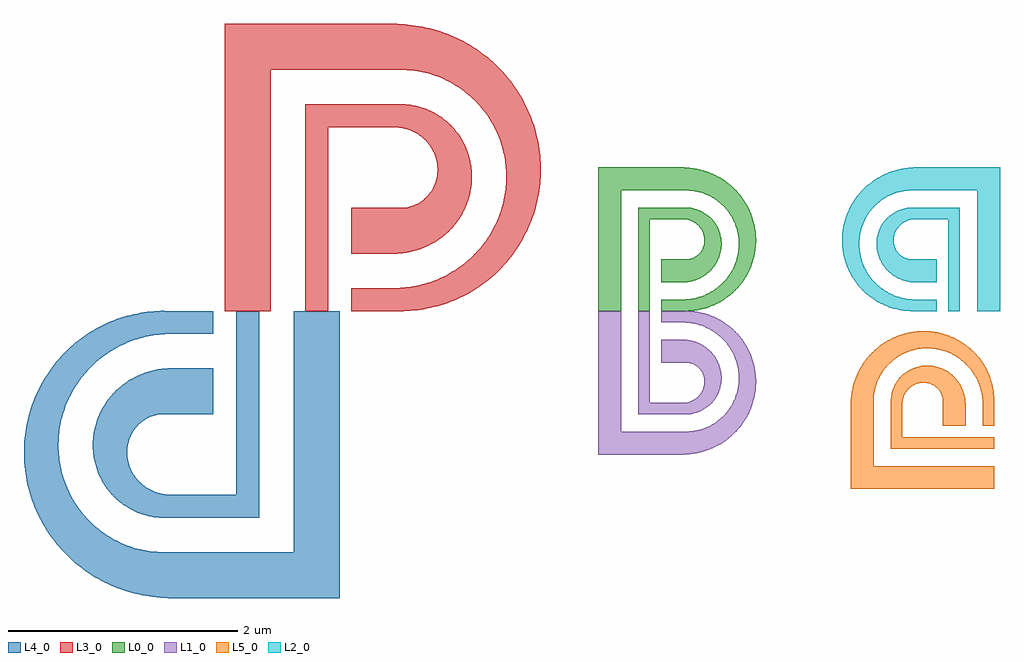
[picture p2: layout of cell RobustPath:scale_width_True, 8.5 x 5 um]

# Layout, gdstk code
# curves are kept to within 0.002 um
import gdstk
lib = gdstk.Library(unit=1e-6, precision=1e-12)
def R(c, l, rs):  # rectangles x0, y0, x1, y1
    for r in rs: c.add(gdstk.rectangle(r[:2], r[2:], *l))
def P(c, l, *ps):  # polygons
    for p in ps: c.add(gdstk.Polygon(p, *l))
L0_0 = (0, 0)
L1_0 = (1, 0)
L2_0 = (2, 0)
L3_0 = (3, 0)
L4_0 = (4, 0)
L5_0 = (5, 0)

robustpath_scale_width_t = lib.new_cell('RobustPath:scale_width_True')
P(robustpath_scale_width_t, L0_0, [(0.2,0.25),(0.2,0.8),(0.5,0.8),(0.529,0.7955),(0.5655,0.7832),(0.5984,0.7642),(0.6264,0.7395),(0.6533,0.7024),(0.6646,0.6778),(0.6735,0.6435),(0.6757,0.6173),(0.6726,0.583),(0.666,0.5584),(0.6518,0.5282),(0.6324,0.5018),(0.6086,0.4802),(0.5744,0.4608),(0.5299,0.4498),(0.3,0.45),(0.3,0.25),(0.5,0.25),(0.5426,0.2546),(0.5922,0.2668),(0.6391,0.2861),(0.6824,0.3119),(0.7212,0.3436),(0.7547,0.3803),(0.7822,0.4213),(0.8032,0.4656),(0.819,0.5201),(0.825,0.568),(0.8238,0.6159),(0.8157,0.6628),(0.8009,0.7076),(0.7797,0.7495),(0.7529,0.7876),(0.721,0.821),(0.6848,0.8491),(0.6451,0.8715),(0.6029,0.8876),(0.5591,0.8973),(0.5148,0.9004),(0.1,0.9),(0.1,0),(0.2,0)],
  [(-0.05,1.05),(0.5221,1.0502),(0.5884,1.0444),(0.6641,1.0253),(0.7258,0.9987),(0.7924,0.9563),(0.8433,0.9111),(0.8433,1.1413),(0.7607,1.1882),(0.6722,1.2223),(0.5793,1.2432),(0.5,1.25),(-0.25,1.25),(-0.25,0),(-0.05,0)],
  [(0.5295,-0.0001),(0.6177,0.0085),(0.6898,0.0255),(0.7731,0.0574),(0.8433,0.0964),(0.8433,0.2538),(0.7918,0.2066),(0.7424,0.1721),(0.6778,0.139),(0.6205,0.1188),(0.561,0.1057),(0.5123,0.1005),(0.3,0.1),(0.3,0)],
  [(0.8511,0.1015),(0.9108,0.1467),(0.9647,0.1992),(1.0119,0.258),(1.0516,0.3223),(1.0833,0.3913),(1.1064,0.4638),(1.1204,0.5389),(1.1252,0.6153),(1.1206,0.692),(1.1065,0.7678),(1.0832,0.8416),(1.0509,0.9121),(1.0102,0.9784),(0.9614,1.0393),(0.9054,1.094),(0.8433,1.1413),(0.8433,0.9111),(0.8734,0.8769),(0.9,0.8398),(0.923,0.8001),(0.9421,0.7582),(0.957,0.7145),(0.9675,0.6694),(0.9752,0.5883),(0.9734,0.5416),(0.9669,0.4952),(0.9558,0.4494),(0.9403,0.4048),(0.9204,0.3618),(0.8963,0.3209),(0.8433,0.2538),(0.8433,0.0964)])
P(robustpath_scale_width_t, L1_0, [(0.1,-0.25),(0.1,-0.9),(0.5148,-0.9004),(0.5738,-0.8948),(0.6313,-0.8776),(0.6719,-0.8572),(0.721,-0.821),(0.7529,-0.7876),(0.7874,-0.7359),(0.8065,-0.693),(0.8219,-0.6317),(0.8254,-0.584),(0.819,-0.5201),(0.806,-0.4732),(0.7822,-0.4213),(0.7495,-0.3739),(0.7088,-0.3324),(0.6685,-0.3026),(0.6239,-0.2789),(0.5759,-0.2619),(0.5342,-0.2532),(0.5,-0.25),(0.3,-0.25),(0.3,-0.45),(0.5224,-0.4493),(0.5598,-0.4556),(0.5885,-0.4675),(0.6149,-0.4851),(0.6324,-0.5018),(0.6596,-0.5429),(0.674,-0.5915),(0.6735,-0.6435),(0.6575,-0.6944),(0.6326,-0.7326),(0.6131,-0.7525),(0.5906,-0.7695),(0.5476,-0.7902),(0.5,-0.8),(0.2,-0.8),(0.2,0),(0.1,0)],
  [(0.8433,-0.0964),(0.7865,-0.064),(0.732,-0.0399),(0.6755,-0.0213),(0.6177,-0.0085),(0.5295,0.0001),(0.3,0),(0.3,-0.1),(0.5123,-0.1005),(0.561,-0.1057),(0.6205,-0.1188),(0.6778,-0.139),(0.7424,-0.1721),(0.7918,-0.2066),(0.8433,-0.2538)],
  [(0.5159,-1.2494),(0.595,-1.2406),(0.6873,-1.2175),(0.7749,-1.1812),(0.8433,-1.1413),(0.8433,-0.9111),(0.7924,-0.9563),(0.7258,-0.9987),(0.6641,-1.0253),(0.5884,-1.0444),(0.5221,-1.0502),(-0.05,-1.05),(-0.05,0),(-0.25,0),(-0.25,-1.25)],
  [(0.8559,-1.1327),(0.9054,-1.094),(0.9614,-1.0393),(1.0102,-0.9784),(1.0509,-0.9121),(1.0832,-0.8416),(1.1065,-0.7678),(1.1206,-0.692),(1.1252,-0.6153),(1.1204,-0.5389),(1.1064,-0.4638),(1.0833,-0.3913),(1.0516,-0.3223),(1.0119,-0.258),(0.9647,-0.1992),(0.9108,-0.1467),(0.8433,-0.0964),(0.8433,-0.2538),(0.8963,-0.3209),(0.9204,-0.3618),(0.9403,-0.4048),(0.9646,-0.4836),(0.9722,-0.53),(0.9752,-0.5767),(0.9736,-0.6233),(0.9675,-0.6694),(0.957,-0.7145),(0.9421,-0.7582),(0.923,-0.8001),(0.9,-0.8398),(0.8734,-0.8769),(0.8433,-0.9111),(0.8433,-1.1413)])
P(robustpath_scale_width_t, L2_0, [(2.9,0.25),(2.9,0.9),(2.4852,0.9004),(2.4262,0.8948),(2.3687,0.8776),(2.3281,0.8572),(2.279,0.821),(2.2471,0.7876),(2.2126,0.7359),(2.1935,0.693),(2.1781,0.6317),(2.1746,0.584),(2.181,0.5201),(2.194,0.4732),(2.2178,0.4213),(2.2505,0.3739),(2.2912,0.3324),(2.3315,0.3026),(2.3761,0.2789),(2.4241,0.2619),(2.4658,0.2532),(2.5,0.25),(2.7,0.25),(2.7,0.45),(2.4776,0.4493),(2.4402,0.4556),(2.4115,0.4675),(2.3851,0.4851),(2.3676,0.5018),(2.3404,0.5429),(2.326,0.5915),(2.3265,0.6435),(2.3425,0.6944),(2.3674,0.7326),(2.3869,0.7525),(2.4094,0.7695),(2.4524,0.7902),(2.5,0.8),(2.8,0.8),(2.8,0),(2.9,0)],
  [(2.1614,0.2489),(2.1317,0.2823),(2.1037,0.3209),(2.0796,0.3618),(2.0597,0.4048),(2.0442,0.4494),(2.0331,0.4952),(2.0266,0.5416),(2.0248,0.5883),(2.0275,0.6349),(2.0347,0.6807),(2.0463,0.7255),(2.0623,0.7688),(2.0823,0.8102),(2.1063,0.8493),(2.1338,0.8857),(2.1614,0.9159),(2.1614,1.1444),(2.0946,1.094),(2.0386,1.0393),(1.9898,0.9784),(1.9491,0.9121),(1.9168,0.8416),(1.8935,0.7678),(1.8794,0.692),(1.8748,0.6153),(1.8816,0.5237),(1.8901,0.4787),(1.9064,0.4199),(1.9223,0.3772),(1.9484,0.3223),(1.9713,0.2831),(2.0062,0.2337),(2.0353,0.1992),(2.0779,0.1567),(2.1124,0.1277),(2.1614,0.0933)],
  [(3.25,1.25),(2.5,1.25),(2.4523,1.2471),(2.3738,1.2344),(2.2977,1.2124),(2.2251,1.1812),(2.1614,1.1444),(2.1614,0.9159),(2.2167,0.9631),(2.2742,0.9987),(2.3359,1.0253),(2.4116,1.0444),(2.4779,1.0502),(3.05,1.05),(3.05,0),(3.25,0)],
  [(2.5,0),(2.7,0),(2.7,0.1),(2.4877,0.1005),(2.439,0.1057),(2.3795,0.1188),(2.3222,0.139),(2.2576,0.1721),(2.2082,0.2066),(2.1614,0.2489),(2.1614,0.0933),(2.2405,0.0512),(2.3245,0.0213),(2.4116,0.0042)])
R(robustpath_scale_width_t, L3_0, [(-2.8,0,-2.6,1.2433)])
P(robustpath_scale_width_t, L3_0, [(-2,0.5),(-1.9317,0.5065),(-1.8647,0.5196),(-1.7995,0.5391),(-1.7369,0.5648),(-1.6774,0.5964),(-1.6215,0.6336),(-1.5698,0.6758),(-1.5117,0.7351),(-1.4709,0.7871),(-1.4357,0.8426),(-1.4061,0.9011),(-1.3777,0.9773),(-1.3619,1.0402),(-1.3524,1.1039),(-1.3492,1.168),(-1.3536,1.2433),(-1.6488,1.2433),(-1.6509,1.1914),(-1.6605,1.1411),(-1.6773,1.0934),(-1.7051,1.0424),(-1.7352,1.0036),(-1.7702,0.9702),(-1.8092,0.9427),(-1.8657,0.9161),(-1.9102,0.9039),(-1.9553,0.8986),(-2.4,0.9),(-2.4,0.5)],
  [(-1.3541,1.2476),(-1.3686,1.3256),(-1.3983,1.4153),(-1.4327,1.4856),(-1.4845,1.563),(-1.5357,1.6208),(-1.6055,1.6807),(-1.6694,1.7221),(-1.7515,1.7607),(-1.8377,1.7865),(-1.8817,1.7946),(-1.9409,1.8002),(-2.8,1.8),(-2.8,1.2433),(-2.6,1.2433),(-2.6,1.6),(-2,1.6),(-1.9232,1.5862),(-1.8689,1.5663),(-1.8188,1.539),(-1.7738,1.505),(-1.729,1.458),(-1.6979,1.4128),(-1.6709,1.3557),(-1.6561,1.3043),(-1.6488,1.2433),(-1.3536,1.2433)],
  [(-3.1,2.1),(-1.9558,2.1005),(-1.8894,2.0971),(-1.8232,2.0888),(-1.736,2.0702),(-1.6719,2.0506),(-1.6092,2.0263),(-1.5483,1.9974),(-1.4705,1.9518),(-1.4152,1.9126),(-1.3627,1.8694),(-1.3135,1.8222),(-1.3135,2.2827),(-1.3945,2.3327),(-1.4786,2.3763),(-1.5657,2.4137),(-1.6556,2.4446),(-1.7476,2.4689),(-1.8413,2.4863),(-1.9363,2.4969),(-2,2.5),(-3.5,2.5),(-3.5,0),(-3.1,0)],
  [(-1.941,-0.0001),(-1.8526,0.0051),(-1.7647,0.0169),(-1.6777,0.0352),(-1.6204,0.0509),(-1.536,0.0798),(-1.4538,0.1149),(-1.3742,0.156),(-1.3135,0.1928),(-1.3135,0.5076),(-1.3616,0.4599),(-1.4164,0.4131),(-1.5152,0.3442),(-1.5785,0.3087),(-1.6443,0.2779),(-1.7589,0.2375),(-1.8781,0.2114),(-1.9755,0.2011),(-2.4,0.2),(-2.4,0)],
  [(-1.2978,0.2029),(-1.2249,0.2555),(-1.1784,0.2935),(-1.1122,0.3548),(-1.0706,0.3983),(-1.0123,0.4675),(-0.9763,0.516),(-0.9267,0.592),(-0.8967,0.6447),(-0.8567,0.7264),(-0.8334,0.7826),(-0.8036,0.8689),(-0.7872,0.9277),(-0.7682,1.0173),(-0.7591,1.0778),(-0.7512,1.1693),(-0.7496,1.2307),(-0.7529,1.3228),(-0.7589,1.3841),(-0.7735,1.4754),(-0.787,1.5357),(-0.8128,1.6248),(-0.8336,1.6831),(-0.8702,1.7687),(-0.8981,1.8242),(-0.9451,1.9049),(-0.9797,1.9567),(-1.0363,2.0313),(-1.0772,2.0786),(-1.1427,2.1459),(-1.1892,2.188),(-1.2377,2.2279),(-1.3135,2.2827),(-1.3135,1.8222),(-1.2533,1.7538),(-1.1999,1.6796),(-1.1539,1.6002),(-1.1158,1.5164),(-1.086,1.4289),(-1.0649,1.3387),(-1.0527,1.2465),(-1.0495,1.1767),(-1.0533,1.0832),(-1.0662,0.9903),(-1.0883,0.8988),(-1.1194,0.8096),(-1.1591,0.7237),(-1.2073,0.6417),(-1.2635,0.5647),(-1.3135,0.5076),(-1.3135,0.1928)])
R(robustpath_scale_width_t, L4_0, [(-3.4,-1.2318,-3.2,0)])
P(robustpath_scale_width_t, L4_0, [(-4.0147,-1.8006),(-3.2,-1.8),(-3.2,-1.2318),(-3.4,-1.2318),(-3.4,-1.6),(-4,-1.6),(-4.0768,-1.5862),(-4.1311,-1.5663),(-4.1891,-1.5338),(-4.2331,-1.4987),(-4.2767,-1.4508),(-4.3066,-1.4049),(-4.3321,-1.3472),(-4.3471,-1.2869),(-4.3514,-1.2318),(-4.6477,-1.2318),(-4.6412,-1.2791),(-4.6273,-1.3409),(-4.6075,-1.4007),(-4.5821,-1.458),(-4.5595,-1.499),(-4.5249,-1.5507),(-4.4855,-1.5985),(-4.4419,-1.6419),(-4.4067,-1.6715),(-4.3567,-1.7065),(-4.3038,-1.7363),(-4.2485,-1.7607),(-4.1914,-1.7794),(-4.133,-1.7923),(-4.0739,-1.7994)],
  [(-4.3514,-1.2259),(-4.348,-1.1829),(-4.3371,-1.1329),(-4.3192,-1.0858),(-4.2949,-1.0424),(-4.2648,-1.0036),(-4.2298,-0.9702),(-4.1908,-0.9427),(-4.1488,-0.9216),(-4.1048,-0.9072),(-4.0447,-0.8986),(-3.6,-0.9),(-3.6,-0.5),(-4,-0.5),(-4.0513,-0.5042),(-4.1187,-0.5157),(-4.2005,-0.5391),(-4.2933,-0.5799),(-4.3649,-0.6238),(-4.4424,-0.6871),(-4.4883,-0.7351),(-4.5384,-0.8007),(-4.5723,-0.857),(-4.6064,-0.9312),(-4.6268,-0.9929),(-4.6436,-1.072),(-4.6506,-1.152),(-4.6477,-1.2318),(-4.3514,-1.2318)],
  [(-4.6771,-1.8317),(-4.7323,-1.7715),(-4.7874,-1.6986),(-4.8353,-1.6205),(-4.8754,-1.5377),(-4.9073,-1.4511),(-4.9306,-1.3615),(-4.9451,-1.2697),(-4.9505,-1.1767),(-4.9467,-1.0832),(-4.9338,-0.9903),(-4.9117,-0.8988),(-4.8806,-0.8096),(-4.8409,-0.7237),(-4.7927,-0.6417),(-4.7365,-0.5647),(-4.6771,-0.4977),(-4.6771,-0.1866),(-4.7513,-0.2374),(-4.8216,-0.2935),(-4.8878,-0.3548),(-4.9294,-0.3983),(-4.9877,-0.4675),(-5.0237,-0.516),(-5.0733,-0.592),(-5.1033,-0.6447),(-5.1433,-0.7264),(-5.1666,-0.7826),(-5.1964,-0.8689),(-5.2128,-0.9277),(-5.2318,-1.0173),(-5.2409,-1.0778),(-5.2488,-1.1693),(-5.2504,-1.2307),(-5.2445,-1.3535),(-5.2265,-1.4754),(-5.1966,-1.5953),(-5.1549,-1.7119),(-5.1019,-1.8242),(-5.0379,-1.931),(-4.9637,-2.0313),(-4.9016,-2.1016),(-4.8343,-2.1672),(-4.7868,-2.2082),(-4.6771,-2.2888)],
  [(-4.6728,-0.4933),(-4.6205,-0.4439),(-4.5646,-0.3984),(-4.464,-0.3319),(-4.3557,-0.2779),(-4.2411,-0.2375),(-4.1219,-0.2114),(-4.0245,-0.2011),(-3.6,-0.2),(-3.6,0),(-4.059,0.0001),(-4.1768,-0.0084),(-4.2935,-0.0284),(-4.3796,-0.0509),(-4.464,-0.0798),(-4.5462,-0.1149),(-4.6258,-0.156),(-4.6771,-0.1866),(-4.6771,-0.4977)],
  [(-2.5,0),(-2.9,0),(-2.9,-2.1),(-4.0442,-2.1005),(-4.1106,-2.0971),(-4.1768,-2.0888),(-4.264,-2.0702),(-4.3281,-2.0506),(-4.3908,-2.0263),(-4.4517,-1.9974),(-4.5104,-1.9639),(-4.5667,-1.9261),(-4.6201,-1.8842),(-4.6771,-1.8317),(-4.6771,-2.2888),(-4.6054,-2.3327),(-4.5498,-2.3625),(-4.4636,-2.402),(-4.4046,-2.4247),(-4.314,-2.4535),(-4.2524,-2.4689),(-4.1587,-2.4863),(-4.0955,-2.4941),(-4,-2.5),(-2.5,-2.5)])
P(robustpath_scale_width_t, L5_0, [(2.95,-1.1),(2.4,-1.1),(2.4,-0.8),(2.4045,-0.771),(2.4168,-0.7345),(2.4358,-0.7016),(2.4605,-0.6736),(2.4976,-0.6467),(2.5222,-0.6354),(2.5565,-0.6265),(2.5827,-0.6243),(2.617,-0.6274),(2.6416,-0.634),(2.6718,-0.6482),(2.6982,-0.6676),(2.7198,-0.6914),(2.7392,-0.7256),(2.7502,-0.7701),(2.75,-1),(2.95,-1),(2.95,-0.8),(2.9454,-0.7574),(2.9332,-0.7078),(2.9139,-0.6609),(2.8881,-0.6176),(2.8564,-0.5788),(2.8197,-0.5453),(2.7787,-0.5178),(2.7344,-0.4968),(2.6799,-0.481),(2.632,-0.475),(2.5841,-0.4762),(2.5372,-0.4843),(2.4924,-0.4991),(2.4505,-0.5203),(2.4124,-0.5471),(2.379,-0.579),(2.3509,-0.6152),(2.3285,-0.6549),(2.3124,-0.6971),(2.3027,-0.7409),(2.2996,-0.7852),(2.3,-1.2),(3.2,-1.2),(3.2,-1.1)],
  [(3.2,-1.35),(2.15,-1.35),(2.1498,-0.7779),(2.1556,-0.7116),(2.1747,-0.6359),(2.2013,-0.5742),(2.2369,-0.5167),(2.2886,-0.4571),(2.0584,-0.4571),(2.0188,-0.5251),(1.9876,-0.5977),(1.9656,-0.6738),(1.9529,-0.7523),(1.95,-0.8),(1.95,-1.55),(3.2,-1.55)],
  [(3.2,-0.85),(3.1987,-0.741),(3.1915,-0.6823),(3.1824,-0.6388),(3.1653,-0.582),(3.1487,-0.5405),(3.1067,-0.4614),(3.1038,-0.4571),(2.9466,-0.4571),(2.9934,-0.5082),(3.0279,-0.5576),(3.061,-0.6222),(3.0812,-0.6795),(3.0943,-0.739),(3.0995,-0.7877),(3.1,-1),(3.2,-1)],
  [(3.0985,-0.4489),(3.0533,-0.3892),(3.0008,-0.3353),(2.942,-0.2881),(2.8777,-0.2484),(2.8087,-0.2167),(2.7362,-0.1936),(2.6611,-0.1796),(2.5847,-0.1748),(2.5079,-0.1794),(2.4322,-0.1935),(2.3584,-0.2168),(2.2879,-0.2491),(2.2216,-0.2898),(2.1607,-0.3386),(2.106,-0.3946),(2.0584,-0.4571),(2.2886,-0.4571),(2.3231,-0.4266),(2.3602,-0.3999),(2.3999,-0.377),(2.4418,-0.3579),(2.4855,-0.343),(2.5306,-0.3325),(2.6117,-0.3248),(2.6584,-0.3266),(2.7048,-0.3331),(2.7506,-0.3442),(2.7952,-0.3597),(2.8382,-0.3796),(2.8791,-0.4037),(2.9466,-0.4571),(3.1038,-0.4571)])

lib.write_gds('RobustPath_scale_width_True.gds')
